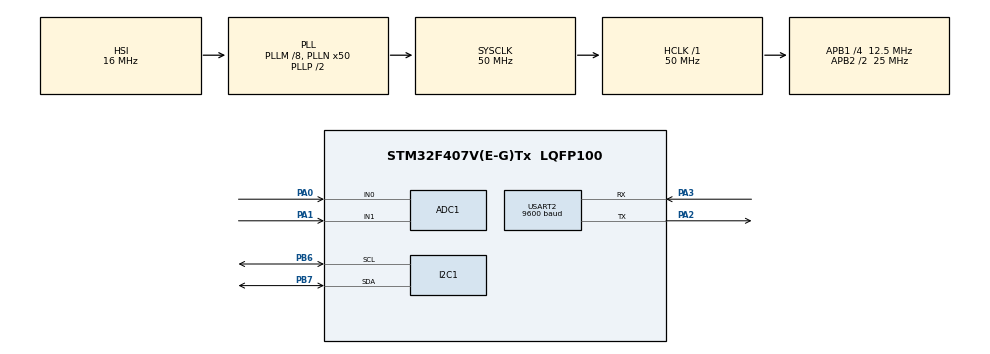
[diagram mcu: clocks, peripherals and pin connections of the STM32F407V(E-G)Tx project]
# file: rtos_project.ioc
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ADC1.Channel-0\#ChannelRegularConversion=ADC_CHANNEL_1
ADC1.ContinuousConvMode=ENABLE
ADC1.NbrOfConversionFlag=1
ADC1.Rank-0\#ChannelRegularConversion=1
ADC1.SamplingTime-0\#ChannelRegularConversion=ADC_SAMPLETIME_3CYCLES
ADC1.master=1
FREERTOS.INCLUDE_vTaskDelayUntil=1
FREERTOS.Tasks01=defaultTask,-3,128,StartDefaultTask,Default,NULL,Dynamic,NULL,NULL
FREERTOS.configUSE_NEWLIB_REENTRANT=1
Mcu.Family=STM32F4
Mcu.Name=STM32F407V(E-G)Tx
Mcu.Package=LQFP100
NVIC.PriorityGroup=NVIC_PRIORITYGROUP_4
NVIC.TIM1_UP_TIM10_IRQn=true\:15\:0\:false\:false\:true\:false\:false\:true\:true
NVIC.TimeBase=TIM1_UP_TIM10_IRQn
NVIC.TimeBaseIP=TIM1
PA0-WKUP.Signal=ADCx_IN0
PA1.Signal=ADCx_IN1
PA2.Mode=Asynchronous
PA2.Signal=USART2_TX
PA3.Mode=Asynchronous
PA3.Signal=USART2_RX
PB6.Mode=I2C
PB6.Signal=I2C1_SCL
PB7.Mode=I2C
PB7.Signal=I2C1_SDA
ProjectManager.HeapSize=0x200
ProjectManager.StackSize=0x400
ProjectManager.TargetToolchain=STM32CubeIDE
RCC.48MHZClocksFreq_Value=14285714.285714285
RCC.AHBFreq_Value=50000000
RCC.APB1CLKDivider=RCC_HCLK_DIV4
RCC.APB1Freq_Value=12500000
RCC.APB1TimFreq_Value=25000000
RCC.APB2CLKDivider=RCC_HCLK_DIV2
RCC.APB2Freq_Value=25000000
RCC.APB2TimFreq_Value=50000000
RCC.CortexFreq_Value=50000000
RCC.HCLKFreq_Value=50000000
RCC.HSE_VALUE=8000000
RCC.HSI_VALUE=16000000
RCC.LSE_VALUE=32768
RCC.PLLM=8
RCC.PLLN=50
RCC.PLLQ=7
RCC.SYSCLKFreq_VALUE=50000000
RCC.SYSCLKSource=RCC_SYSCLKSOURCE_PLLCLK
RCC.VCOOutputFreq_Value=100000000
SH.ADCx_IN0.0=ADC1_IN0,IN0
SH.ADCx_IN1.0=ADC1_IN1,IN1
USART2.BaudRate=9600
USART2.VirtualMode=VM_ASYNC
VP_FREERTOS_VS_CMSIS_V1.Mode=CMSIS_V1
VP_SYS_VS_tim1.Mode=TIM1
board=STM32F407G-DISC1

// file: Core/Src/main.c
/* USER CODE BEGIN Header */
/**
  ******************************************************************************
  * @file           : main.c
  * @brief          : Main program body
  ******************************************************************************
  * @attention
  *
  * Copyright (c) 2024 STMicroelectronics.
  * All rights reserved.
  *
  * This software is licensed under terms that can be found in the LICENSE file
  * in the root directory of this software component.
  * If no LICENSE file comes with this software, it is provided AS-IS.
  *
  ******************************************************************************
  */
/* USER CODE END Header */
#include "main.h"
#include "cmsis_os.h"
#include <string.h>
#include "bmp280.h"
#include "stdio.h"

I2C_HandleTypeDef hi2c1;
ADC_HandleTypeDef hadc1;
UART_HandleTypeDef huart2;

osThreadId defaultTaskHandle;
/* USER CODE BEGIN PV */
typedef struct sensordata{int32_t temp;uint32_t pres;uint32_t humd;uint32_t mq135;uint32_t mq2;uint32_t d;}s_data;
/* USER CODE END PV */
s_data s;
char buffer[120];
void SystemClock_Config(void);
static void MX_GPIO_Init(void);
static void MX_I2C1_Init(void);
static void MX_USART2_UART_Init(void);
static void MX_ADC1_Init(void);
void StartDefaultTask(void const * argument);
/* USER CODE BEGIN PFP */
/**
 * Compensation algorithm is taken from BMP280 datasheet.
 *
 * Return value is in degrees Celsius.
 */

int _write(int file, char *data, int len) {
    HAL_UART_Transmit(&huart2, (uint8_t*)data, len, 100);
    return len;
}
void send_uart(const char *message) {
    HAL_UART_Transmit(&huart2, (uint8_t*)message, strlen(message), HAL_MAX_DELAY);
}
/**
 * Compensation algorithm is taken from BMP280 datasheet.
 *
 * Return value is in Pa, 24 integer bits and 8 fractional bits.
 */

/* USER CODE END PFP */
uint32_t period;

/*Variable to hold the measured distance*/
float distance;
/* USER CODE BEGIN 0 */
//void vUltrasonicTask(void *pvParam)
//{
//    char *pcMessage = (char *)pvParam;
//    TickType_t xLastWakeTime;
//    const TickType_t xPeriod = pdMS_TO_TICKS(5000);  /* 5-second period */
//    xLastWakeTime = xTaskGetTickCount();
//    /* Enable float point hardware */
//    SCB->CPACR |= ((3UL << 10*2) | (3UL << 11*2));
//    /* Set the clock to 100MHz */
//
//
//    /* Enable clock access to GPIOA and GPIOB */
//    RCC->AHB1ENR |= RCC_AHB1ENR_GPIOAEN | RCC_AHB1ENR_GPIOBEN;
//
//    /* Set PA5 for alternate function */
//    GPIOA->MODER |= GPIO_MODER_MODE5_1;
//    GPIOA->MODER &= ~GPIO_MODER_MODE5_0;
//
//    /* Set PB3 for alternate function */
//    GPIOB->MODER |= GPIO_MODER_MODE3_1;
//    GPIOB->MODER &= ~GPIO_MODER_MODE3_0;
//
//    /* Select AF01 for TIM2 */
//    #define AF01 0x01
//    GPIOA->AFR[0] |= (AF01 << GPIO_AFRL_AFSEL5_Pos);
//    GPIOB->AFR[0] |= (AF01 << GPIO_AFRL_AFSEL3_Pos);
//
//    /* Enable clock access to TIM2 */
//    RCC->APB1ENR |= RCC_APB1ENR_TIM2EN;
//
//    /* Set the prescaler to 99 to get 1MHz */
//    TIM2->PSC = 99;
//
//    /* Set the maximum to 199999 to get 5 Hz update rate */
//    TIM2->ARR = 1000000 - 1;
//
//    /* Reset current counter */
//    TIM2->CNT = 0;
//
//    /* Set PA5 as PWM (Channel 1) */
//    TIM2->CCMR1 |= TIM_CCMR1_OC1M_2 | TIM_CCMR1_OC1M_1;
//
//    /* Set PB3 as Input capture (Channel 2) */
//    TIM2->CCMR1 |= TIM_CCMR1_CC2S_0;
//
//    /* Enable CH1 and CH2 */
//    TIM2->CCER |= TIM_CCER_CC1E | TIM_CCER_CC2E;
//
//    /* Enable capture/compare 2 DMA */
//    TIM2->DIER |= TIM_DIER_CC2DE;
//
//    /* Set CH2 to be on both edge (falling/rising edge) */
//    TIM2->CCER |= TIM_CCER_CC2P | TIM_CCER_CC2NP;
//
//    /* DMA configuration */
//
//    /* Enable clock access to DMA1 */
//    RCC->AHB1ENR |= RCC_AHB1ENR_DMA1EN;
//
//    /* Disable the stream and wait until it is disabled */
//    DMA1_Stream6->CR &= ~DMA_SxCR_EN;
//    while ((DMA1_Stream6->CR & DMA_SxCR_EN) == DMA_SxCR_EN);
//
//    /* Configure the DMA with the following parameters:
//     * Channel is channel 3
//     * Memory and peripheral size is word (32-bit)
//     * Circular mode
//     */
//    #define CH3 0x03
//    DMA1_Stream6->CR |= (CH3 << DMA_SxCR_CHSEL_Pos) | DMA_SxCR_PSIZE_1 | DMA_SxCR_MSIZE_1 | DMA_SxCR_CIRC;
//
//    /* Set number of transfers to be 1
//     * Peripheral address to TIM2->CCR2
//     * Memory address to be the period variable
//     */
//    DMA1_Stream6->NDTR = 1;
//    DMA1_Stream6->PAR = (uint32_t)&TIM2->CCR2;
//    DMA1_Stream6->M0AR = (uint32_t)&period;
//
//    /* Delay to ensure the ultrasonic sensor is up */
//    vTaskDelay(pdMS_TO_TICKS(30));
//
//    /* Enable DMA */
//    DMA1_Stream6->CR |= DMA_SxCR_EN;
//
//    /* Enable timer */
//    TIM2->CR1 = TIM_CR1_CEN;
//
//    /* Give 12 microsecond pulse to trigger pin (Channel 1) */
//    TIM2->CCR1 = 12;
//
//    while (1)
//    {
//		HAL_UART_Transmit(&huart2, (uint8_t *)pcMessage, strlen(pcMessage), HAL_MAX_DELAY);
//
//        /* Calculate the distance */
//        distance = (float)(period - 538.0) * 0.034 / 2.0;
//
//        /* Convert the distance to integer */
//        s.d = (int)distance;
//
//        /* Print the distance as integer */
//
//
//        /* Delay between each print */
//        vTaskDelayUntil(&xLastWakeTime, xPeriod);
//    }
//    vTaskDelete(NULL);
//}

void vUARTSendingTask(void *pvParam)
{
    TickType_t xLastWakeTime;
    const TickType_t xPeriod = pdMS_TO_TICKS(1000);  /* 1 second period */
    xLastWakeTime = xTaskGetTickCount();
	char *pcMessage = (char *)pvParam;

	while(1)
	{
		portENTER_CRITICAL();
		HAL_UART_Transmit(&huart2, (uint8_t *)pcMessage, strlen(pcMessage), HAL_MAX_DELAY);
        snprintf(buffer,sizeof(buffer),"T:%ld.%02ld,P:%ld.%02ld,H:%ld.%02ld,mq135:%lu,mq2:%lu,L:%lu\r\n",
     		   s.temp / 100, s.temp % 100,s.pres / 256, (s.pres % 256) * 100 / 256,
				   s.humd / 1024, (s.humd % 1024) * 100 / 1024,s.mq135,s.mq2,s.d);
        send_uart(buffer);
		portEXIT_CRITICAL();
		vTaskDelayUntil(&xLastWakeTime, xPeriod);
	}
	vTaskDelete(NULL);
}

void vBMP280Task(void*pvParam)
{
    TickType_t xLastWakeTime;
    const TickType_t xPeriod = pdMS_TO_TICKS(5000);  /* 1 second period */
    xLastWakeTime = xTaskGetTickCount();
    char *pcMessage = (char *)pvParam;
    bmp280_params_t params;
    bmp280_init_default_params(&params);

    BMP280_HandleTypedef bmp280;
    bmp280.addr = BMP280_I2C_ADDRESS_0;
    if (!bmp280_init(&bmp280, &params)) {
        strcpy(pcMessage,"\r\nBMP280 initialization failed");
		HAL_UART_Transmit(&huart2, (uint8_t *)pcMessage, strlen(pcMessage), HAL_MAX_DELAY);

        while (1);
    }

    int32_t temperature;
    uint32_t pressure, humidity;

   while(1)
   {
	   bmp280_force_measurement(&bmp280);
	   portENTER_CRITICAL();
		HAL_UART_Transmit(&huart2, (uint8_t *)pcMessage, strlen(pcMessage), HAL_MAX_DELAY);
		vTaskDelay(pdMS_TO_TICKS(100));
		   if (!bmp280_is_measuring(&bmp280)) {
			   if (bmp280_read_fixed(&bmp280, &temperature, &pressure, &humidity)) {
						s.temp = temperature;
						s.pres = pressure;
						s.humd = humidity;
			   } else {
				   send_uart("Failed to read values\r\n");
			   }
		   }
		   vTaskDelay(pdMS_TO_TICKS(1000));
       portEXIT_CRITICAL();
	   vTaskDelayUntil(&xLastWakeTime, xPeriod);
   }
}
/* USER CODE END 0 */
void vADCTask(void *pvParam)
{
    char *pcMessage = (char *)pvParam;
    TickType_t xLastWakeTime;
    const TickType_t xPeriod = pdMS_TO_TICKS(5000);  /* 5 second period */
    xLastWakeTime = xTaskGetTickCount();

    ADC_ChannelConfTypeDef sConfig = {0};

    while (1)
    {
        portENTER_CRITICAL();
        HAL_UART_Transmit(&huart2, (uint8_t *)pcMessage, strlen(pcMessage), HAL_MAX_DELAY);

        // Configure ADC to read from channel 0
        sConfig.Channel = ADC_CHANNEL_0;
        sConfig.Rank = 1;
        sConfig.SamplingTime = ADC_SAMPLETIME_3CYCLES;
        if (HAL_ADC_ConfigChannel(&hadc1, &sConfig) != HAL_OK)
        {
            Error_Handler();
        }

        // Start ADC Conversion
        HAL_ADC_Start(&hadc1);
        // Poll ADC1 Peripheral & TimeOut = 10mSec
        if (HAL_ADC_PollForConversion(&hadc1, 10) == HAL_OK)
        {
            // Read the ADC converted values
            s.mq135 = HAL_ADC_GetValue(&hadc1);
        }
        HAL_ADC_Stop(&hadc1);

        // Configure ADC to read from channel 1
        sConfig.Channel = ADC_CHANNEL_1;
        if (HAL_ADC_ConfigChannel(&hadc1, &sConfig) != HAL_OK)
        {
            Error_Handler();
        }

        // Start ADC Conversion
        HAL_ADC_Start(&hadc1);
        // Poll ADC1 Peripheral & TimeOut = 10mSec
        if (HAL_ADC_PollForConversion(&hadc1, 10) == HAL_OK)
        {
            // Read the ADC converted values
            s.mq2 = HAL_ADC_GetValue(&hadc1);
        }
        HAL_ADC_Stop(&hadc1);

        portEXIT_CRITICAL();
        vTaskDelayUntil(&xLastWakeTime, xPeriod);
    }
    vTaskDelete(NULL);
}

int main(void)
{
	  /* USER CODE BEGIN 1 */
		BaseType_t xRet;
		char * pcMessage = "This is UART Demo\r\n";
	  /* USER CODE END 1 */

	  /* MCU Configuration--------------------------------------------------------*/

	  /* Reset of all peripherals, Initializes the Flash interface and the Systick. */
	  HAL_Init();

	  /* Configure the system clock */
	  SystemClock_Config();

	  /* Initialize all configured peripherals */
	  MX_GPIO_Init();
	  MX_ADC1_Init();
	  MX_USART2_UART_Init();
	  MX_I2C1_Init();
	  /* USER CODE BEGIN 2 */
	  HAL_UART_Transmit(&huart2, (uint8_t *)pcMessage, strlen(pcMessage), HAL_MAX_DELAY);
	  /* USER CODE END 2 */

	  /* Create the thread(s) */
	  /* definition and creation of defaultTask */
	  osThreadDef(defaultTask, StartDefaultTask, osPriorityIdle, 0, 128);
	  defaultTaskHandle = osThreadCreate(osThread(defaultTask), NULL);

	  /* USER CODE BEGIN RTOS_THREADS */
	  /* add threads, ... */

	  xRet = xTaskCreate(vUARTSendingTask, "UART1 Task", configMINIMAL_STACK_SIZE, "UART Task1\r\n", 2, NULL);
	    if(xRet != pdTRUE)
	  	  Error_Handler();

	    xRet = xTaskCreate(vBMP280Task, "bmp280 Task", 1024, "bmp280\r\n", 4, NULL);
	       if(xRet != pdTRUE)
	     	  Error_Handler();
	       xRet = xTaskCreate(vADCTask, "adc_task", 128, "adc\r\n", 3, NULL);
	       if(xRet != pdTRUE)
	       	  Error_Handler();
//	       xRet = xTaskCreate( vUltrasonicTask, "ultrasonic_task", 128, "ultrasonic task\r\n", 2, NULL);
//	       if(xRet != pdTRUE)
//	       	  Error_Handler();
	  /* USER CODE END RTOS_THREADS */

	  /* Start scheduler */
	  osKernelStart();

	  /* We should never get here as control is now taken by the scheduler */
	  /* Infinite loop */
	  while (1)
	  {

	  }
}

void SystemClock_Config(void)
{
  RCC_OscInitTypeDef RCC_OscInitStruct = {0};
  RCC_ClkInitTypeDef RCC_ClkInitStruct = {0};

  /** Configure the main internal regulator output voltage
  */
  __HAL_RCC_PWR_CLK_ENABLE();
  __HAL_PWR_VOLTAGESCALING_CONFIG(PWR_REGULATOR_VOLTAGE_SCALE1);

  /** Initializes the RCC Oscillators according to the specified parameters
  * in the RCC_OscInitTypeDef structure.
  */
  RCC_OscInitStruct.OscillatorType = RCC_OSCILLATORTYPE_HSI;
  RCC_OscInitStruct.HSIState = RCC_HSI_ON;
  RCC_OscInitStruct.HSICalibrationValue = RCC_HSICALIBRATION_DEFAULT;
  RCC_OscInitStruct.PLL.PLLState = RCC_PLL_ON;
  RCC_OscInitStruct.PLL.PLLSource = RCC_PLLSOURCE_HSI;
  RCC_OscInitStruct.PLL.PLLM = 8;
  RCC_OscInitStruct.PLL.PLLN = 50;
  RCC_OscInitStruct.PLL.PLLP = RCC_PLLP_DIV2;
  RCC_OscInitStruct.PLL.PLLQ = 7;
  if (HAL_RCC_OscConfig(&RCC_OscInitStruct) != HAL_OK)
  {
    Error_Handler();
  }

  /** Initializes the CPU, AHB and APB buses clocks
  */
  RCC_ClkInitStruct.ClockType = RCC_CLOCKTYPE_HCLK|RCC_CLOCKTYPE_SYSCLK
                              |RCC_CLOCKTYPE_PCLK1|RCC_CLOCKTYPE_PCLK2;
  RCC_ClkInitStruct.SYSCLKSource = RCC_SYSCLKSOURCE_PLLCLK;
  RCC_ClkInitStruct.AHBCLKDivider = RCC_SYSCLK_DIV1;
  RCC_ClkInitStruct.APB1CLKDivider = RCC_HCLK_DIV4;
  RCC_ClkInitStruct.APB2CLKDivider = RCC_HCLK_DIV2;

  if (HAL_RCC_ClockConfig(&RCC_ClkInitStruct, FLASH_LATENCY_1) != HAL_OK)
  {
    Error_Handler();
  }
}

static void MX_I2C1_Init(void)
{

  hi2c1.Instance = I2C1;
  hi2c1.Init.ClockSpeed = 100000;
  hi2c1.Init.DutyCycle = I2C_DUTYCYCLE_2;
  hi2c1.Init.OwnAddress1 = 0;
  hi2c1.Init.AddressingMode = I2C_ADDRESSINGMODE_7BIT;
  hi2c1.Init.DualAddressMode = I2C_DUALADDRESS_DISABLE;
  hi2c1.Init.OwnAddress2 = 0;
  hi2c1.Init.GeneralCallMode = I2C_GENERALCALL_DISABLE;
  hi2c1.Init.NoStretchMode = I2C_NOSTRETCH_DISABLE;
  if (HAL_I2C_Init(&hi2c1) != HAL_OK)
  {
    Error_Handler();
  }

}

static void MX_USART2_UART_Init(void)
{

  huart2.Instance = USART2;
  huart2.Init.BaudRate = 9600;
  huart2.Init.WordLength = UART_WORDLENGTH_8B;
  huart2.Init.StopBits = UART_STOPBITS_1;
  huart2.Init.Parity = UART_PARITY_NONE;
  huart2.Init.Mode = UART_MODE_TX_RX;
  huart2.Init.HwFlowCtl = UART_HWCONTROL_NONE;
  huart2.Init.OverSampling = UART_OVERSAMPLING_16;
  if (HAL_UART_Init(&huart2) != HAL_OK)
  {
    Error_Handler();
  }

}

static void MX_ADC1_Init(void)
{

  ADC_ChannelConfTypeDef sConfig = {0};

  /** Configure the global features of the ADC (Clock, Resolution, Data Alignment and number of conversion)
  */
  hadc1.Instance = ADC1;
  hadc1.Init.ClockPrescaler = ADC_CLOCK_SYNC_PCLK_DIV2;
  hadc1.Init.Resolution = ADC_RESOLUTION_12B;
  hadc1.Init.ScanConvMode = DISABLE;
  hadc1.Init.ContinuousConvMode = ENABLE;
  hadc1.Init.DiscontinuousConvMode = DISABLE;
  hadc1.Init.ExternalTrigConvEdge = ADC_EXTERNALTRIGCONVEDGE_NONE;
  hadc1.Init.ExternalTrigConv = ADC_SOFTWARE_START;
  hadc1.Init.DataAlign = ADC_DATAALIGN_RIGHT;
  hadc1.Init.NbrOfConversion = 1;
  hadc1.Init.DMAContinuousRequests = DISABLE;
  hadc1.Init.EOCSelection = ADC_EOC_SINGLE_CONV;
  if (HAL_ADC_Init(&hadc1) != HAL_OK)
  {
    Error_Handler();
  }

  /** Configure for the selected ADC regular channel its corresponding rank in the sequencer and its sample time.
  */
  sConfig.Channel = ADC_CHANNEL_0;
  sConfig.Rank = 1;
  sConfig.SamplingTime = ADC_SAMPLETIME_3CYCLES;
  if (HAL_ADC_ConfigChannel(&hadc1, &sConfig) != HAL_OK)
  {
    Error_Handler();
  }

}
static void MX_GPIO_Init(void)
{

  /* GPIO Ports Clock Enable */
  __HAL_RCC_GPIOA_CLK_ENABLE();
  __HAL_RCC_GPIOB_CLK_ENABLE();

}

void StartDefaultTask(void const * argument)
{
  for(;;)
  {
    osDelay(1);
  }
}

void HAL_TIM_PeriodElapsedCallback(TIM_HandleTypeDef *htim)
{
  if (htim->Instance == TIM1) {
    HAL_IncTick();
  }
}

void Error_Handler(void)
{
  __disable_irq();
  while (1)
  {
  }
}
